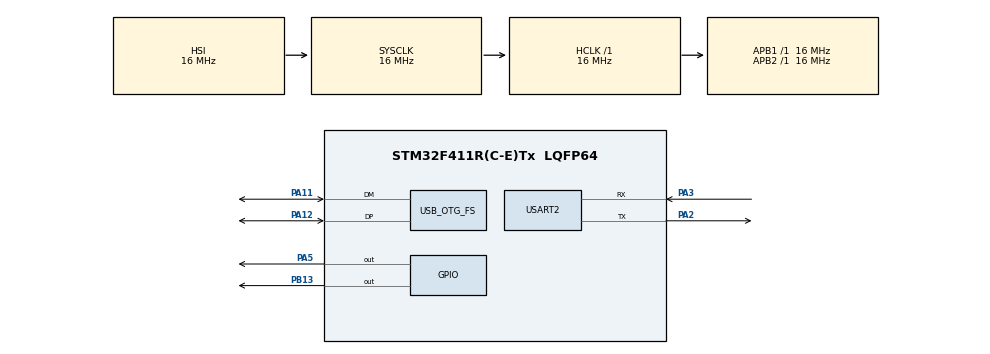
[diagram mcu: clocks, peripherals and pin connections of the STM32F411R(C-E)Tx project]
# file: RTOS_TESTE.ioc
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FREERTOS.Queues01=myQueue01,16,uint16_t,0,Dynamic,NULL,NULL
FREERTOS.Tasks01=defaultTask,0,128,StartDefaultTask,Default,NULL,Dynamic,NULL,NULL;myTask_led_3,0,128,StartTask_led_3,Default,NULL,Dynamic,NULL,NULL;myTask_led_7,0,128,StartTask_led_7,Default,NULL,Dynamic,NULL,NULL;myTask_led_11,0,128,StartTask_led_11,Default,NULL,Dynamic,NULL,NULL
FREERTOS.configUSE_NEWLIB_REENTRANT=1
FREERTOS.configUSE_PREEMPTION=1
Mcu.Family=STM32F4
Mcu.Name=STM32F411R(C-E)Tx
Mcu.Package=LQFP64
NVIC.OTG_FS_IRQn=true\:5\:0\:false\:false\:true\:true\:false\:true\:true
NVIC.PriorityGroup=NVIC_PRIORITYGROUP_4
NVIC.TIM1_UP_TIM10_IRQn=true\:15\:0\:false\:false\:true\:false\:false\:true\:true
NVIC.TimeBase=TIM1_UP_TIM10_IRQn
NVIC.TimeBaseIP=TIM1
PA11.Mode=Device_Only
PA11.Signal=USB_OTG_FS_DM
PA12.Mode=Device_Only
PA12.Signal=USB_OTG_FS_DP
PA2.Mode=Asynchronous
PA2.Signal=USART2_TX
PA3.Mode=Asynchronous
PA3.Signal=USART2_RX
PA5.Signal=GPIO_Output
PB13.Signal=GPIO_Output
PC14-OSC32_IN.Mode=LSE-External-Oscillator
PC14-OSC32_IN.Signal=RCC_OSC32_IN
PC15-OSC32_OUT.Mode=LSE-External-Oscillator
PC15-OSC32_OUT.Signal=RCC_OSC32_OUT
PH0\ -\ OSC_IN.Mode=HSE-External-Oscillator
PH0\ -\ OSC_IN.Signal=RCC_OSC_IN
PH1\ -\ OSC_OUT.Mode=HSE-External-Oscillator
PH1\ -\ OSC_OUT.Signal=RCC_OSC_OUT
ProjectManager.HeapSize=0x200
ProjectManager.StackSize=0x400
ProjectManager.TargetToolchain=STM32CubeIDE
RCC.48MHZClocksFreq_Value=48000000
RCC.AHBFreq_Value=16000000
RCC.APB1Freq_Value=16000000
RCC.APB1TimFreq_Value=16000000
RCC.APB2Freq_Value=16000000
RCC.APB2TimFreq_Value=16000000
RCC.CortexFreq_Value=16000000
RCC.HCLKFreq_Value=16000000
RCC.HSE_VALUE=25000000
RCC.HSI_VALUE=16000000
RCC.PLLM=15
RCC.PLLN=144
RCC.PLLQ=5
RCC.SYSCLKFreq_VALUE=16000000
RCC.VCOOutputFreq_Value=240000000
USART2.VirtualMode=VM_ASYNC
USB_DEVICE.CLASS_NAME_FS=CDC
USB_DEVICE.VirtualMode=Cdc
USB_DEVICE.VirtualModeFS=Cdc_FS
USB_OTG_FS.VirtualMode=Device_Only
VP_FREERTOS_VS_CMSIS_V1.Mode=CMSIS_V1
VP_SYS_VS_tim1.Mode=TIM1
VP_USB_DEVICE_VS_USB_DEVICE_CDC_FS.Mode=CDC_FS
board=custom

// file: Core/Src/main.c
/* USER CODE BEGIN Header */
/**
  ******************************************************************************
  * @file           : main.c
  * @brief          : Main program body
  ******************************************************************************
  * @attention
  *
  * Copyright (c) 2025 STMicroelectronics.
  * All rights reserved.
  *
  * This software is licensed under terms that can be found in the LICENSE file
  * in the root directory of this software component.
  * If no LICENSE file comes with this software, it is provided AS-IS.
  *
  ******************************************************************************
  */
/* USER CODE END Header */
#include "main.h"
#include "cmsis_os.h"
#include "usart.h"
#include "usb_device.h"
#include "gpio.h"

void SystemClock_Config(void);
void MX_FREERTOS_Init(void);

int main(void)
{

  /* MCU Configuration--------------------------------------------------------*/

  /* Reset of all peripherals, Initializes the Flash interface and the Systick. */
  HAL_Init();

  /* Configure the system clock */
  SystemClock_Config();

  /* Initialize all configured peripherals */
  MX_GPIO_Init();
  MX_USART2_UART_Init();

  /* Call init function for freertos objects (in cmsis_os2.c) */
  MX_FREERTOS_Init();

  /* Start scheduler */
  osKernelStart();

  /* We should never get here as control is now taken by the scheduler */

  /* Infinite loop */
  while (1)
  {

  }
}

void SystemClock_Config(void)
{
  RCC_OscInitTypeDef RCC_OscInitStruct = {0};
  RCC_ClkInitTypeDef RCC_ClkInitStruct = {0};

  /** Configure the main internal regulator output voltage
  */
  __HAL_RCC_PWR_CLK_ENABLE();
  __HAL_PWR_VOLTAGESCALING_CONFIG(PWR_REGULATOR_VOLTAGE_SCALE1);

  /** Initializes the RCC Oscillators according to the specified parameters
  * in the RCC_OscInitTypeDef structure.
  */
  RCC_OscInitStruct.OscillatorType = RCC_OSCILLATORTYPE_HSI|RCC_OSCILLATORTYPE_HSE;
  RCC_OscInitStruct.HSEState = RCC_HSE_ON;
  RCC_OscInitStruct.HSIState = RCC_HSI_ON;
  RCC_OscInitStruct.HSICalibrationValue = RCC_HSICALIBRATION_DEFAULT;
  RCC_OscInitStruct.PLL.PLLState = RCC_PLL_ON;
  RCC_OscInitStruct.PLL.PLLSource = RCC_PLLSOURCE_HSE;
  RCC_OscInitStruct.PLL.PLLM = 15;
  RCC_OscInitStruct.PLL.PLLN = 144;
  RCC_OscInitStruct.PLL.PLLP = RCC_PLLP_DIV2;
  RCC_OscInitStruct.PLL.PLLQ = 5;
  if (HAL_RCC_OscConfig(&RCC_OscInitStruct) != HAL_OK)
  {
    Error_Handler();
  }

  /** Initializes the CPU, AHB and APB buses clocks
  */
  RCC_ClkInitStruct.ClockType = RCC_CLOCKTYPE_HCLK|RCC_CLOCKTYPE_SYSCLK
                              |RCC_CLOCKTYPE_PCLK1|RCC_CLOCKTYPE_PCLK2;
  RCC_ClkInitStruct.SYSCLKSource = RCC_SYSCLKSOURCE_HSI;
  RCC_ClkInitStruct.AHBCLKDivider = RCC_SYSCLK_DIV1;
  RCC_ClkInitStruct.APB1CLKDivider = RCC_HCLK_DIV1;
  RCC_ClkInitStruct.APB2CLKDivider = RCC_HCLK_DIV1;

  if (HAL_RCC_ClockConfig(&RCC_ClkInitStruct, FLASH_LATENCY_0) != HAL_OK)
  {
    Error_Handler();
  }
}

void HAL_TIM_PeriodElapsedCallback(TIM_HandleTypeDef *htim)
{
  if (htim->Instance == TIM1)
  {
    HAL_IncTick();
  }
}

void Error_Handler(void)
{
  __disable_irq();
  while (1)
  {
  }
}

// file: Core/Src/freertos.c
/* USER CODE BEGIN Header */
/**
  ******************************************************************************
  * File Name          : freertos.c
  * Description        : Versão FINAL - Inclui Task de Telemetria Aleatória (CMD T)
  *                      Mantém todas as funcionalidades anteriores (LEDs, Buzzer, CO2)
  ******************************************************************************
  */
/* USER CODE END Header */

#include "FreeRTOS.h"
#include "task.h"
#include "main.h"
#include "cmsis_os.h"

/* USER CODE BEGIN Includes */
#include <stdio.h>
#include <stdarg.h>
#include <string.h>
#include <stdlib.h> // Adicionado para rand()
#include "usbd_cdc_if.h"
#include "stm32f4xx_hal.h"
/* USER CODE END Includes */

/* USER CODE BEGIN PTD */
enum {
 	PERIPHERAL_USART,
 	PERIPHERAL_USB
};
/* USER CODE END PTD */

/* USER CODE BEGIN PD */
// --- MAPEAMENTO DE HARDWARE ---
#define BTN_INT_PIN        GPIO_PIN_13
#define BTN_INT_PORT       GPIOC
#define BTN_EXT_PIN        GPIO_PIN_4
#define BTN_EXT_PORT       GPIOB
#define LED1_PIN           GPIO_PIN_5
#define LED1_PORT          GPIOA
#define BUZZER_PIN         GPIO_PIN_6
#define BUZZER_PORT        GPIOA
#define LED2_PIN           GPIO_PIN_0
#define LED2_PORT          GPIOB

// --- COMANDOS ---
#define CMD_STOP           0x00
#define CMD_MODE_A         0x01
#define CMD_MODE_B         0x02
#define CMD_CHANGE_SPEED   0x03
#define CMD_EMERGENCY      0x04

// --- GLOBAIS ---
uint8_t usb_rx_buffer[64];
uint8_t usb_rx_flag = 0;
uint16_t global_CO2 = 400;
uint8_t uart_rx_byte[1];
uint8_t telemetry_active = 0; // Flag para o comando 'T'
/* USER CODE END PD */

/* USER CODE BEGIN Variables */
extern UART_HandleTypeDef huart2;
/* USER CODE END Variables */

osThreadId defaultTaskHandle;
osThreadId myTask_ButtonHandle;
osThreadId myTask_ControllerHandle;
osThreadId myTask_Led2Handle;
osThreadId myTask_TelemetryHandle; // Handle da nova task

osMessageQId myQueue_SysCmdsHandle;

/* USER CODE BEGIN FunctionPrototypes */
void myPrintf(uint16_t peripheral, char *format, ...);
/* USER CODE END FunctionPrototypes */

void StartDefaultTask(void const * argument);
void StartTask_Button(void const * argument);
void StartTask_Controller(void const * argument);
void StartTask_Led2(void const * argument);
void StartTask_Telemetry(void const * argument); // Protótipo da telemetria

extern void MX_USB_DEVICE_Init(void);
void MX_FREERTOS_Init(void);

void vApplicationGetIdleTaskMemory( StaticTask_t **ppxIdleTaskTCBBuffer, StackType_t **ppxIdleTaskStackBuffer, uint32_t *pulIdleTaskStackSize );

/* USER CODE BEGIN GET_IDLE_TASK_MEMORY */
static StaticTask_t xIdleTaskTCBBuffer;
static StackType_t xIdleStack[configMINIMAL_STACK_SIZE];

void vApplicationGetIdleTaskMemory( StaticTask_t **ppxIdleTaskTCBBuffer, StackType_t **ppxIdleTaskStackBuffer, uint32_t *pulIdleTaskStackSize )
{
  *ppxIdleTaskTCBBuffer = &xIdleTaskTCBBuffer;
  *ppxIdleTaskStackBuffer = &xIdleStack[0];
  *pulIdleTaskStackSize = configMINIMAL_STACK_SIZE;
}
/* USER CODE END GET_IDLE_TASK_MEMORY */

void MX_FREERTOS_Init(void) {
  osMessageQDef(myQueue_SysCmds, 10, uint16_t);
  myQueue_SysCmdsHandle = osMessageCreate(osMessageQ(myQueue_SysCmds), NULL);

  osThreadDef(defaultTask, StartDefaultTask, osPriorityNormal, 0, 256);
  defaultTaskHandle = osThreadCreate(osThread(defaultTask), NULL);

  osThreadDef(myTask_Button, StartTask_Button, osPriorityAboveNormal, 0, 256);
  myTask_ButtonHandle = osThreadCreate(osThread(myTask_Button), NULL);

  osThreadDef(myTask_Controller, StartTask_Controller, osPriorityNormal, 0, 256);
  myTask_ControllerHandle = osThreadCreate(osThread(myTask_Controller), NULL);

  osThreadDef(myTask_Led2, StartTask_Led2, osPriorityNormal, 0, 128);
  myTask_Led2Handle = osThreadCreate(osThread(myTask_Led2), NULL);

  // Nova Task: Telemetria (Baixa prioridade para não afetar o tempo real dos LEDs)
  osThreadDef(myTask_Telemetry, StartTask_Telemetry, osPriorityLow, 0, 256);
  myTask_TelemetryHandle = osThreadCreate(osThread(myTask_Telemetry), NULL);
}

/* USER CODE BEGIN Header_StartDefaultTask */
void StartDefaultTask(void const * argument)
{
  MX_USB_DEVICE_Init();
  HAL_NVIC_SetPriority(USART2_IRQn, 5, 0);
  HAL_NVIC_EnableIRQ(USART2_IRQn);
  HAL_UART_Receive_IT(&huart2, uart_rx_byte, 1);

  osDelay(1000);
  myPrintf(PERIPHERAL_USART, "--- SISTEMA INICIADO ---\r\n");

  for(;;) {
      if (global_CO2 > 1000) {
          myPrintf(PERIPHERAL_USART, "ALERTA: CO2 Critico (%d)!\r\n", global_CO2);
          osMessagePut(myQueue_SysCmdsHandle, CMD_EMERGENCY, 0);
          global_CO2 = 400;
      }
	  osDelay(200);
  }
}
/* USER CODE END Header_StartDefaultTask */

/* USER CODE BEGIN Header_StartTask_Telemetry */
/**
 * TASK: Envia dados aleatórios no formato exato da imagem quando ativado por 'T'
 */
void StartTask_Telemetry(void const * argument)
{
    for(;;)
    {
        if(telemetry_active)
        {
            // Gerar valores aleatórios conforme pedido
            int col = rand() % 2;           // 0 ou 1
            int cap = rand() % 2;           // 0 ou 1 (mantido "caputado" como pedido)
            int fum = rand() % 2;           // 0 ou 1
            int tem = 18 + (rand() % 23);   // 18 a 40

            // Formato de saída exato para compatibilidade com o outro software
            myPrintf(PERIPHERAL_USART, "colisao: %d\r\n", col);
            myPrintf(PERIPHERAL_USART, "caputado: %d\r\n", cap);
            myPrintf(PERIPHERAL_USART, "fumo: %d\r\n", fum);
            myPrintf(PERIPHERAL_USART, "temperatura: %d\r\n", tem);
        }

        // Envia a cada 1 segundo
        osDelay(1000);
    }
}
/* USER CODE END Header_StartTask_Telemetry */

/* USER CODE BEGIN Header_StartTask_Button */
void StartTask_Button(void const * argument)
{
    GPIO_InitTypeDef GPIO_InitStruct = {0};
    __HAL_RCC_GPIOB_CLK_ENABLE();
    GPIO_InitStruct.Pin = BTN_EXT_PIN;
    GPIO_InitStruct.Mode = GPIO_MODE_INPUT;
    GPIO_InitStruct.Pull = GPIO_PULLUP;
    HAL_GPIO_Init(BTN_EXT_PORT, &GPIO_InitStruct);

    uint32_t pressTime = 0;
    uint8_t clickCount = 0;
    uint8_t isPressed = 0;
    uint8_t longPressSent = 0;

    for (;;)
    {
        if (HAL_GPIO_ReadPin(BTN_INT_PORT, BTN_INT_PIN) == GPIO_PIN_RESET) {
            if (!isPressed) {
                osDelay(50);
                if (HAL_GPIO_ReadPin(BTN_INT_PORT, BTN_INT_PIN) == GPIO_PIN_RESET) {
                    isPressed = 1; pressTime = osKernelSysTick(); longPressSent = 0;
                }
            }
            if (isPressed && !longPressSent && (osKernelSysTick() - pressTime > 1000)) {
                osMessagePut(myQueue_SysCmdsHandle, CMD_CHANGE_SPEED, 0);
                longPressSent = 1; clickCount = 0;
            }
        }
        else {
            if (isPressed) {
                isPressed = 0;
                if (!longPressSent) {
                    clickCount++; pressTime = osKernelSysTick();
                }
            }
        }
        if (clickCount > 0 && !isPressed && (osKernelSysTick() - pressTime > 400)) {
            if (clickCount == 1) osMessagePut(myQueue_SysCmdsHandle, CMD_MODE_A, 0);
            else if (clickCount == 2) osMessagePut(myQueue_SysCmdsHandle, CMD_MODE_B, 0);
            else if (clickCount >= 3) osMessagePut(myQueue_SysCmdsHandle, CMD_STOP, 0);
            clickCount = 0;
        }

        if (HAL_GPIO_ReadPin(BTN_EXT_PORT, BTN_EXT_PIN) == GPIO_PIN_RESET) {
            osDelay(50);
            if (HAL_GPIO_ReadPin(BTN_EXT_PORT, BTN_EXT_PIN) == GPIO_PIN_RESET) {
                osMessagePut(myQueue_SysCmdsHandle, CMD_EMERGENCY, 0);
                while(HAL_GPIO_ReadPin(BTN_EXT_PORT, BTN_EXT_PIN) == GPIO_PIN_RESET) osDelay(50);
            }
        }
        osDelay(20);
    }
}
/* USER CODE END Header_StartTask_Button */

/* USER CODE BEGIN Header_StartTask_Controller */
void StartTask_Controller(void const * argument)
{
    GPIO_InitTypeDef GPIO_InitStruct = {0};
    GPIO_InitStruct.Pin = BUZZER_PIN;
    GPIO_InitStruct.Mode = GPIO_MODE_OUTPUT_PP;
    GPIO_InitStruct.Pull = GPIO_NOPULL;
    GPIO_InitStruct.Speed = GPIO_SPEED_FREQ_LOW;
    HAL_GPIO_Init(BUZZER_PORT, &GPIO_InitStruct);

    osEvent evt;
    uint8_t mode = 0;
    uint32_t currentFreqA = 500;
    uint32_t lastLedToggle = 0;
    uint32_t modeB_Start = 0;
    uint8_t logicalState = 0;

    for (;;)
    {
        evt = osMessageGet(myQueue_SysCmdsHandle, 1);
        if (evt.status == osEventMessage) {
            uint16_t cmd = evt.value.v;
            if (cmd != CMD_STOP && cmd != CMD_CHANGE_SPEED) {
                 xTaskNotifyGive(myTask_Led2Handle);
            }
            switch(cmd) {
                case CMD_STOP:
                    mode = 0; logicalState = 0;
                    HAL_GPIO_WritePin(LED1_PORT, LED1_PIN, RESET);
                    HAL_GPIO_WritePin(BUZZER_PORT, BUZZER_PIN, RESET);
                    myPrintf(PERIPHERAL_USART, "CTRL: Stop\r\n");
                    break;
                case CMD_MODE_A:
                    mode = 1; logicalState = 1; lastLedToggle = osKernelSysTick();
                    HAL_GPIO_WritePin(LED1_PORT, LED1_PIN, SET);
                    myPrintf(PERIPHERAL_USART, "CTRL: Modo A\r\n");
                    break;
                case CMD_MODE_B:
                    mode = 2; logicalState = 1; lastLedToggle = osKernelSysTick();
                    modeB_Start = osKernelSysTick();
                    HAL_GPIO_WritePin(LED1_PORT, LED1_PIN, SET);
                    myPrintf(PERIPHERAL_USART, "CTRL: Modo B\r\n");
                    break;
                case CMD_CHANGE_SPEED:
                    if(currentFreqA > 100) currentFreqA -= 100; else currentFreqA = 500;
                    myPrintf(PERIPHERAL_USART, "Speed: %lu\r\n", currentFreqA);
                    break;
                case CMD_EMERGENCY:
                    mode = 3; logicalState = 1; lastLedToggle = osKernelSysTick();
                    myPrintf(PERIPHERAL_USART, "CTRL: EMERGENCIA!\r\n");
                    break;
            }
        }

        if (mode != 0) {
            uint32_t now = osKernelSysTick();
            uint32_t period = (mode == 2) ? 150 : (mode == 3 ? 100 : currentFreqA);
            if (now - lastLedToggle >= period) {
                lastLedToggle = now; logicalState = !logicalState;
                HAL_GPIO_WritePin(LED1_PORT, LED1_PIN, logicalState ? SET : RESET);
            }
            if (logicalState) HAL_GPIO_TogglePin(BUZZER_PORT, BUZZER_PIN);
            else HAL_GPIO_WritePin(BUZZER_PORT, BUZZER_PIN, RESET);

            if (mode == 2 && (now - modeB_Start > 3000)) {
                mode = 0; HAL_GPIO_WritePin(LED1_PORT, LED1_PIN, RESET);
                HAL_GPIO_WritePin(BUZZER_PORT, BUZZER_PIN, RESET);
            }
        }
    }
}
/* USER CODE END Header_StartTask_Controller */

/* USER CODE BEGIN Header_StartTask_Led2 */
void StartTask_Led2(void const * argument)
{
    GPIO_InitTypeDef GPIO_InitStruct = {0};
    __HAL_RCC_GPIOB_CLK_ENABLE();
    GPIO_InitStruct.Pin = LED2_PIN;
    GPIO_InitStruct.Mode = GPIO_MODE_OUTPUT_PP;
    GPIO_InitStruct.Pull = GPIO_NOPULL;
    GPIO_InitStruct.Speed = GPIO_SPEED_FREQ_LOW;
    HAL_GPIO_Init(LED2_PORT, &GPIO_InitStruct);

    for(;;) {
        ulTaskNotifyTake(pdTRUE, osWaitForever);
        uint32_t endTime = osKernelSysTick() + 1000 + 3000;
        while (osKernelSysTick() < endTime) {
            HAL_GPIO_TogglePin(LED2_PORT, LED2_PIN);
            osDelay(100);
        }
        HAL_GPIO_WritePin(LED2_PORT, LED2_PIN, RESET);
    }
}
/* USER CODE END Header_StartTask_Led2 */

/* USER CODE BEGIN Application */
void HAL_UART_RxCpltCallback(UART_HandleTypeDef *huart)
{
    if(huart->Instance == USART2) {
        char cmd = (char)uart_rx_byte[0];

        if (cmd != '\r' && cmd != '\n') {
            if (cmd == 'S' || cmd == 's') {
                osMessagePut(myQueue_SysCmdsHandle, CMD_STOP, 0);
            }
            else if (cmd == 'C' || cmd == 'c') {
                global_CO2 += 500;
            }
            else if (cmd == 'T' || cmd == 't') {
                telemetry_active = !telemetry_active; // Alterna telemetria on/off
            }
            usb_rx_buffer[0] = cmd;
            usb_rx_flag = 1;
        }
        HAL_UART_Receive_IT(&huart2, uart_rx_byte, 1);
    }
}

void myPrintf(uint16_t peripheral, char *format, ...)
{
 	char buffer[128];
 	va_list args;
 	va_start(args, format);
 	vsprintf(buffer, format, args);
 	va_end(args);

 	if(peripheral == PERIPHERAL_USART)
 	    HAL_UART_Transmit(&huart2, (uint8_t*)buffer, strlen(buffer), 100);
 	else
 		CDC_Transmit_FS ((uint8_t *)buffer, strlen(buffer));
}
/* USER CODE END Application */
